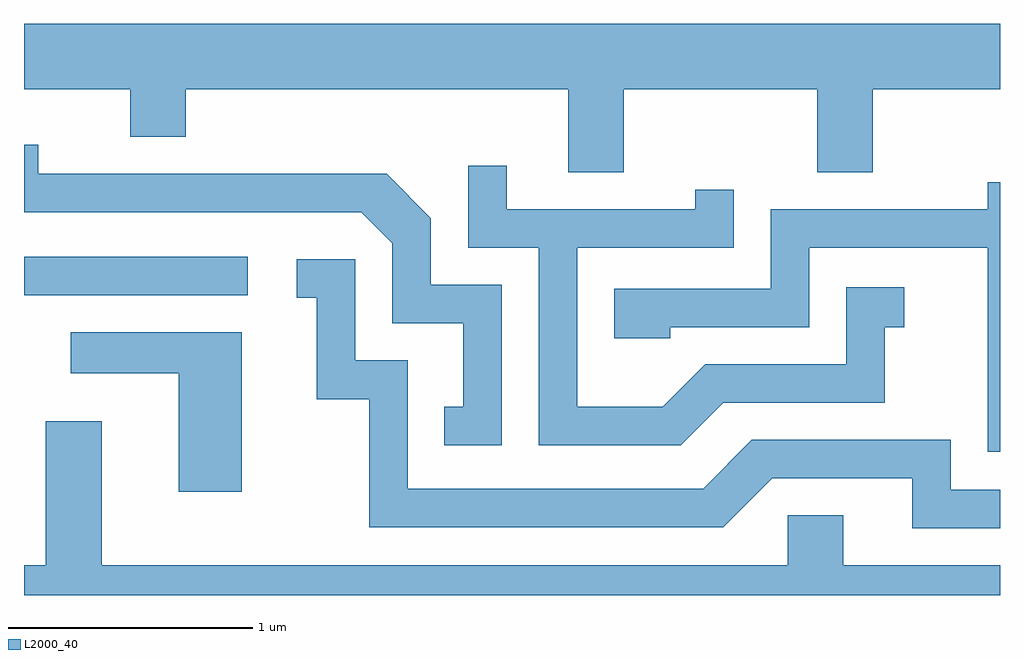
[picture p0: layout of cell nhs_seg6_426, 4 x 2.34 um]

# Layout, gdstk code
import gdstk
lib = gdstk.Library(unit=1e-6, precision=1e-09)
def R(c, l, rs):  # rectangles x0, y0, x1, y1
    for r in rs: c.add(gdstk.rectangle(r[:2], r[2:], *l))
def P(c, l, *ps):  # polygons
    for p in ps: c.add(gdstk.Polygon(p, *l))
L2000_40 = (2000, 40)

nhs_seg6_426 = lib.new_cell('nhs_seg6_426')
R(nhs_seg6_426, L2000_40, [(197.611,1571.391,198.528,1571.549)])
P(nhs_seg6_426, L2000_40, [(200.069,1572.236),(200.861,1572.236),(200.861,1571.896),(201.089,1571.896),(201.089,1572.236),(201.611,1572.236),(201.611,1572.504),(197.611,1572.504),(197.611,1572.236),(198.046,1572.236),(198.046,1572.041),(198.274,1572.041),(198.274,1572.236),(199.841,1572.236),(199.841,1571.896),(200.069,1571.896)],
  [(199.569,1571.434),(199.279,1571.434),(199.279,1571.707),(199.097,1571.889),(197.669,1571.889),(197.669,1572.009),(197.611,1572.009),(197.611,1571.731),(198.994,1571.731),(199.121,1571.604),(199.121,1571.276),(199.411,1571.276),(199.411,1570.934),(199.333,1570.934),(199.333,1570.776),(199.569,1570.776)],
  [(200.477,1570.951),(201.139,1570.951),(201.139,1571.261),(201.218,1571.261),(201.218,1571.424),(200.981,1571.424),(200.981,1571.109),(200.404,1571.109),(200.229,1570.934),(199.879,1570.934),(199.879,1571.586),(200.519,1571.586),(200.519,1571.823),(200.361,1571.823),(200.361,1571.744),(199.589,1571.744),(199.589,1571.923),(199.431,1571.923),(199.431,1571.586),(199.721,1571.586),(199.721,1570.776),(200.302,1570.776)],
  [(201.611,1571.854),(201.561,1571.854),(201.561,1571.744),(200.671,1571.744),(200.671,1571.419),(200.031,1571.419),(200.031,1571.216),(200.259,1571.216),(200.259,1571.261),(200.829,1571.261),(200.829,1571.586),(201.561,1571.586),(201.561,1570.751),(201.611,1570.751)],
  [(201.611,1570.594),(201.409,1570.594),(201.409,1570.799),(200.594,1570.799),(200.394,1570.599),(199.184,1570.599),(199.184,1571.124),(198.969,1571.124),(198.969,1571.539),(198.728,1571.539),(198.728,1571.381),(198.811,1571.381),(198.811,1570.966),(199.026,1570.966),(199.026,1570.441),(200.477,1570.441),(200.677,1570.641),(201.251,1570.641),(201.251,1570.436),(201.611,1570.436)],
  [(198.504,1571.239),(197.803,1571.239),(197.803,1571.071),(198.246,1571.071),(198.246,1570.586),(198.504,1570.586)],
  [(201.611,1570.284),(200.969,1570.284),(200.969,1570.489),(200.741,1570.489),(200.741,1570.284),(197.929,1570.284),(197.929,1570.874),(197.701,1570.874),(197.701,1570.284),(197.611,1570.284),(197.611,1570.162),(201.611,1570.162)])

lib.write_gds('nhs_seg6_426.gds')
